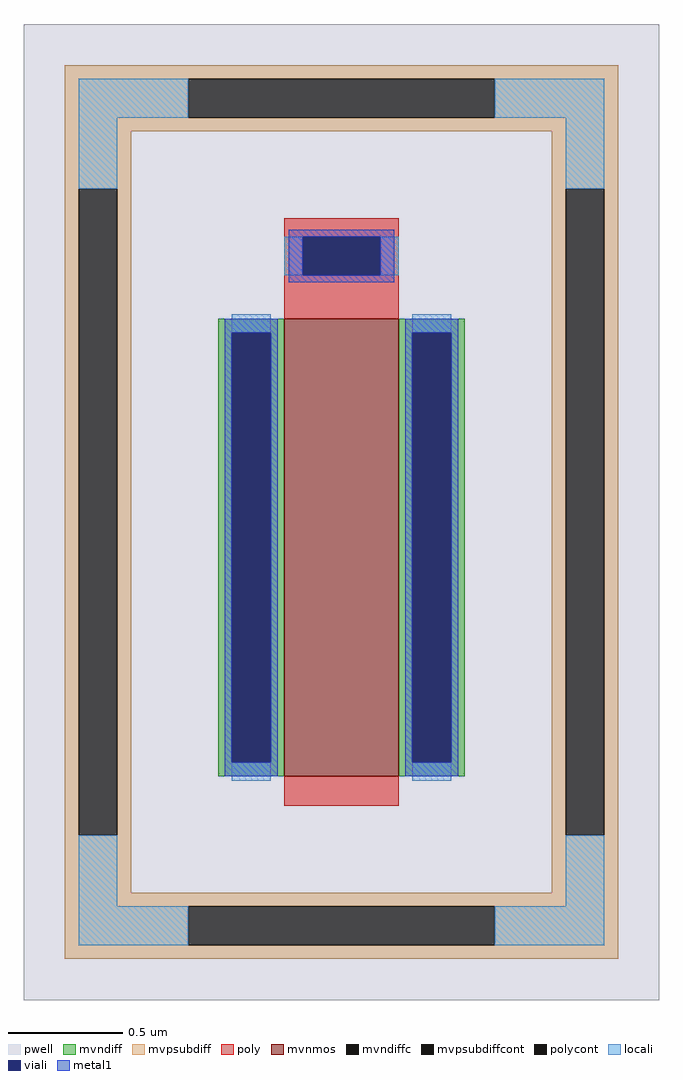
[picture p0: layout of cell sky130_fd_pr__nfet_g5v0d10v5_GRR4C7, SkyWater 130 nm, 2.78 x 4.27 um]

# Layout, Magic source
magic
tech sky130A
magscale 1 2
<< pwell >>
rect -278 -427 278 427
<< mvnmos >>
rect -50 -231 50 169
<< mvndiff >>
rect -108 157 -50 169
rect -108 -219 -96 157
rect -62 -219 -50 157
rect -108 -231 -50 -219
rect 50 157 108 169
rect 50 -219 62 157
rect 96 -219 108 157
rect 50 -231 108 -219
<< mvndiffc >>
rect -96 -219 -62 157
rect 62 -219 96 157
<< mvpsubdiff >>
rect -242 379 242 391
rect -242 345 -134 379
rect 134 345 242 379
rect -242 333 242 345
rect -242 283 -184 333
rect -242 -283 -230 283
rect -196 -283 -184 283
rect 184 283 242 333
rect -242 -333 -184 -283
rect 184 -283 196 283
rect 230 -283 242 283
rect 184 -333 242 -283
rect -242 -345 242 -333
rect -242 -379 -134 -345
rect 134 -379 242 -345
rect -242 -391 242 -379
<< mvpsubdiffcont >>
rect -134 345 134 379
rect -230 -283 -196 283
rect 196 -283 230 283
rect -134 -379 134 -345
<< poly >>
rect -50 241 50 257
rect -50 207 -34 241
rect 34 207 50 241
rect -50 169 50 207
rect -50 -257 50 -231
<< polycont >>
rect -34 207 34 241
<< locali >>
rect -230 345 -134 379
rect 134 345 230 379
rect -230 283 -196 345
rect 196 283 230 345
rect -50 207 -34 241
rect 34 207 50 241
rect -96 157 -62 173
rect -96 -235 -62 -219
rect 62 157 96 173
rect 62 -235 96 -219
rect -230 -345 -196 -283
rect 196 -345 230 -283
rect -230 -379 -134 -345
rect 134 -379 230 -345
<< viali >>
rect -34 207 34 241
rect -96 -219 -62 157
rect 62 -219 96 157
<< metal1 >>
rect -46 241 46 247
rect -46 207 -34 241
rect 34 207 46 241
rect -46 201 46 207
rect -102 157 -56 169
rect -102 -219 -96 157
rect -62 -219 -56 157
rect -102 -231 -56 -219
rect 56 157 102 169
rect 56 -219 62 157
rect 96 -219 102 157
rect 56 -231 102 -219
<< properties >>
string FIXED_BBOX -213 -362 213 362
string gencell sky130_fd_pr__nfet_g5v0d10v5
string library sky130
string parameters w 2.0 l 0.5 m 1 nf 1 diffcov 100 polycov 100 guard 1 glc 1 grc 1 gtc 1 gbc 1 tbcov 100 rlcov 100 topc 1 botc 0 poverlap 0 doverlap 1 lmin 0.50 wmin 0.42 compatible {sky130_fd_pr__nfet_01v8 sky130_fd_pr__nfet_01v8_lvt  sky130_fd_bs_flash__special_sonosfet_star  sky130_fd_pr__nfet_g5v0d10v5 sky130_fd_pr__nfet_05v0_nvt  sky130_fd_pr__nfet_03v3_nvt} full_metal 1 viasrc 100 viadrn 100 viagate 100 viagb 0 viagr 0 viagl 0 viagt 0
<< end >>
